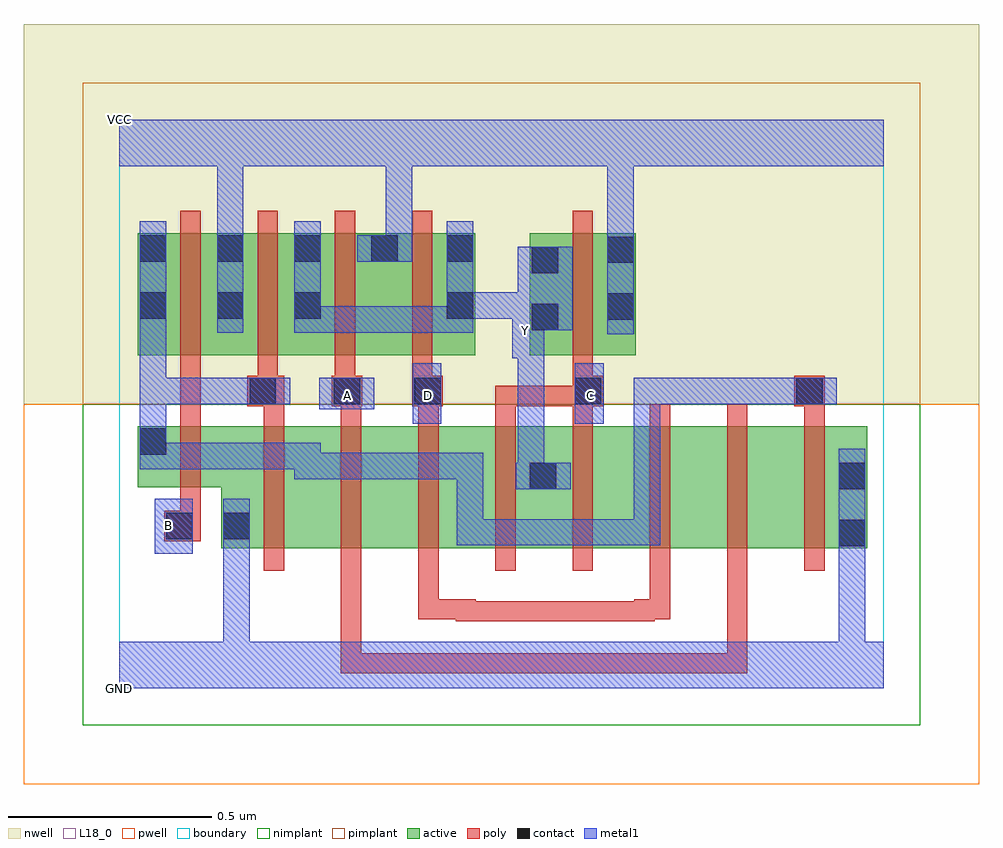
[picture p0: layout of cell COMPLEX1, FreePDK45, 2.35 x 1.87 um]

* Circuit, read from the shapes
.subckt COMPLEX1 A B C D GND VCC Y
M1 GND B n1 VSUBS nfet w=0.15u l=0.05u
M2 n2 n1 GND VSUBS nfet w=0.3u l=0.05u
M3 n3 A n2 VSUBS nfet w=0.3u l=0.05u
M4 n4 D n3 VSUBS nfet w=0.3u l=0.05u
M5 Y C n4 VSUBS nfet w=0.3u l=0.05u
M6 n5 C Y VSUBS nfet w=0.3u l=0.05u
M7 n6 D n5 VSUBS nfet w=0.3u l=0.05u
M8 n7 A n6 VSUBS nfet w=0.3u l=0.05u
M9 GND n1 n7 VSUBS nfet w=0.3u l=0.05u
M10 VCC B n1 n8 pfet w=0.3u l=0.05u
M11 Y n1 VCC n8 pfet w=0.3u l=0.05u
M12 VCC A Y n8 pfet w=0.3u l=0.05u
M13 Y D VCC n8 pfet w=0.3u l=0.05u
M14 VCC C Y n8 pfet w=0.3u l=0.05u
.ends

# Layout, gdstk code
import gdstk
lib = gdstk.Library(unit=1e-6, precision=1e-09)
def R(c, l, rs):  # rectangles x0, y0, x1, y1
    for r in rs: c.add(gdstk.rectangle(r[:2], r[2:], *l))
def A(c, l, x, y, w, h, nx, ny, dx, dy):  # array of equal rectangles
    R(c, l, [(x+i*dx, y+j*dy, x+i*dx+w, y+j*dy+h) for i in range(nx) for j in range(ny)])
active = (1, 0)
pwell = (2, 0)
nwell = (3, 0)
nimplant = (4, 0)
pimplant = (5, 0)
poly = (9, 0)
contact = (10, 0)
metal1 = (11, 0)
L18_0 = (18, 0)
boundary = (235, 0)

complex1 = lib.new_cell('COMPLEX1')
A(complex1, active, 0.045, 0.82, 0.075, 0.3, 3, 1, 0.19, 0)
A(complex1, active, 0.045, 0.82, 0.265, 0.3, 3, 1, 0.19, 0)
R(complex1, active, [(0.25,0.345,0.475,0.645), (0.25,0.345,0.325,0.495), (0.475,0.345,0.665,0.645), (0.665,0.345,0.855,0.645), (0.855,0.345,1.08,0.645), (1.005,0.345,1.08,0.645), (1.005,0.345,1.235,0.645), (1.235,0.345,1.425,0.645), (1.425,0.345,1.615,0.645), (1.615,0.345,1.84,0.645), (1.765,0.345,1.84,0.645), (0.045,0.495,0.12,0.645), (0.045,0.495,0.325,0.645), (0.615,0.82,0.875,1.12), (0.8,0.82,0.875,1.12), (1.01,0.82,1.085,1.12), (1.01,0.82,1.27,1.12), (1.195,0.82,1.27,1.117), (0.615,0.872,0.69,1.12)])
R(complex1, pwell, [(-0.235,-0.235,2.115,0.7)])
R(complex1, nwell, [(-0.235,0.7,2.115,1.635)])
R(complex1, nimplant, [(-0.09,-0.09,1.97,0.7)])
R(complex1, pimplant, [(-0.09,0.7,1.97,1.49)])
A(complex1, poly, 0.355, 0.29, 0.05, 0.41, 8, 1, 0.19, 0)
A(complex1, poly, 0.355, 0.65, 0.05, 0.095, 5, 1, 0.19, 0)
A(complex1, poly, 0.34, 0.72, 0.05, 0.095, 3, 1, 0.19, 0)
A(complex1, poly, 0.15, 0.765, 0.05, 0.41, 4, 1, 0.19, 0)
R(complex1, poly, [(0.545,0.037,0.595,0.34), (0.545,0.037,0.595,0.087), (0.545,0.037,0.595,0.087), (0.545,0.037,0.595,0.087), (0.545,0.037,0.595,0.087), (0.545,0.037,0.595,0.087), (0.545,0.037,0.727,0.087), (0.677,0.037,0.727,0.087), (0.677,0.037,0.917,0.087), (0.867,0.037,0.917,0.087), (0.867,0.037,0.917,0.087), (0.867,0.037,0.917,0.087), (0.867,0.037,1.185,0.087), (1.135,0.037,1.185,0.087), (1.135,0.037,1.185,0.087), (1.135,0.037,1.185,0.087), (1.135,0.037,1.412,0.087), (1.362,0.037,1.412,0.087), (1.362,0.037,1.412,0.087), (1.362,0.037,1.412,0.087), (1.362,0.037,1.545,0.087), (1.495,0.037,1.545,0.34), (1.495,0.037,1.545,0.087), (1.495,0.037,1.545,0.087), (1.495,0.037,1.545,0.087), (1.495,0.037,1.545,0.087), (1.495,0.037,1.545,0.087), (0.827,0.165,0.877,0.22), (0.827,0.165,0.975,0.215), (0.925,0.165,0.975,0.215), (0.925,0.165,1.072,0.215), (1.022,0.165,1.072,0.215), (1.022,0.165,1.107,0.215), (1.057,0.165,1.107,0.215), (1.057,0.165,1.317,0.215), (1.267,0.165,1.317,0.22), (0.735,0.17,0.785,0.22), (0.735,0.17,0.785,0.34), (0.735,0.17,0.877,0.22), (1.267,0.17,1.355,0.22), (1.305,0.17,1.355,0.22), (1.305,0.17,1.355,0.34), (0.11,0.362,0.2,0.437), (0.15,0.387,0.2,0.49), (0.15,0.44,0.2,0.7), (0.15,0.65,0.2,0.745), (1.685,0.65,1.735,0.745), (0.15,0.695,0.2,0.745), (0.15,0.695,0.2,0.815), (0.315,0.695,0.405,0.77), (0.522,0.695,0.597,0.77), (0.72,0.695,0.795,0.77), (0.925,0.695,0.975,0.745), (0.925,0.695,1.165,0.745), (1.115,0.695,1.19,0.77), (1.115,0.695,1.165,0.745), (1.115,0.695,1.165,0.745), (1.66,0.695,1.735,0.77), (1.115,0.72,1.165,0.815), (1.115,0.765,1.165,1.175)])
A(complex1, contact, 0.05, 0.91, 0.065, 0.065, 3, 1, 0.19, 0)
A(complex1, contact, 0.05, 1.05, 0.065, 0.065, 4, 1, 0.19, 0)
R(complex1, contact, [(1.77,0.35,1.835,0.415), (0.115,0.367,0.18,0.432), (0.255,0.367,0.32,0.432), (1.01,0.49,1.075,0.555), (1.77,0.49,1.835,0.555), (0.05,0.575,0.115,0.64), (0.32,0.7,0.385,0.765), (0.527,0.7,0.592,0.765), (0.725,0.7,0.79,0.765), (1.12,0.7,1.185,0.765), (1.665,0.7,1.73,0.765), (1.015,0.882,1.08,0.947), (1.2,0.907,1.265,0.972), (0.805,0.91,0.87,0.975), (1.015,1.022,1.08,1.087), (1.2,1.047,1.265,1.112), (0.805,1.05,0.87,1.115)])
A(complex1, metal1, 0.05, 0.875, 0.065, 0.275, 3, 1, 0.19, 0)
R(complex1, metal1, [(0,0,1.88,0.115), (0.255,0.05,0.32,0.115), (0.255,0.05,0.32,0.115), (0.255,0.05,0.32,0.397), (1.77,0.05,1.835,0.38), (1.77,0.05,1.835,0.115), (1.77,0.05,1.835,0.115), (1.77,0.05,1.835,0.115), (1.77,0.05,1.835,0.115), (1.77,0.315,1.835,0.59), (0.087,0.332,0.18,0.467), (0.255,0.332,0.32,0.397), (0.255,0.332,0.32,0.397), (0.255,0.332,0.32,0.467), (0.83,0.352,0.895,0.417), (0.83,0.352,0.895,0.417), (0.83,0.352,0.897,0.417), (0.83,0.352,0.895,0.58), (0.832,0.352,1.127,0.417), (1.062,0.352,1.127,0.417), (1.062,0.352,1.127,0.417), (1.062,0.352,1.127,0.417), (1.062,0.352,1.33,0.417), (1.265,0.352,1.33,0.417), (1.265,0.352,1.33,0.417), (1.265,0.352,1.33,0.417), (1.265,0.352,1.33,0.765), (0.975,0.49,1.11,0.555), (0.98,0.49,1.045,0.877), (0.43,0.515,0.732,0.58), (0.43,0.515,0.495,0.605), (0.667,0.515,0.732,0.58), (0.667,0.515,0.732,0.58), (0.667,0.515,0.732,0.58), (0.667,0.515,0.895,0.58), (0.83,0.515,0.895,0.58), (0.05,0.54,0.115,0.605), (0.05,0.54,0.115,0.605), (0.05,0.54,0.357,0.605), (0.05,0.54,0.115,0.675), (0.292,0.54,0.357,0.605), (0.292,0.54,0.357,0.605), (0.292,0.54,0.357,0.605), (0.292,0.54,0.495,0.605), (0.43,0.54,0.495,0.605), (0.43,0.54,0.495,0.605), (0.05,0.61,0.115,0.765), (0.722,0.652,0.792,0.8), (1.12,0.652,1.192,0.8), (0.492,0.687,0.627,0.765), (0.05,0.7,0.115,0.765), (0.05,0.7,0.115,0.765), (0.05,0.7,0.115,0.765), (0.05,0.7,0.252,0.765), (0.05,0.7,0.115,0.94), (0.187,0.7,0.252,0.765), (0.187,0.7,0.35,0.765), (0.285,0.7,0.42,0.765), (1.265,0.7,1.33,0.765), (1.265,0.7,1.33,0.765), (1.265,0.7,1.33,0.765), (1.265,0.7,1.467,0.765), (1.402,0.7,1.467,0.765), (1.402,0.7,1.467,0.765), (1.402,0.7,1.467,0.765), (1.402,0.7,1.695,0.765), (1.63,0.7,1.695,0.765), (1.63,0.7,1.695,0.765), (1.63,0.7,1.765,0.765), (0.967,0.812,1.045,0.947), (1.2,0.872,1.265,1.147), (0.43,0.875,0.495,0.94), (0.43,0.875,0.495,0.94), (0.43,0.875,0.632,0.94), (0.567,0.875,0.632,0.94), (0.567,0.875,0.632,0.94), (0.567,0.875,0.632,0.94), (0.567,0.875,0.87,0.94), (0.805,0.875,0.87,1.15), (0.98,0.882,1.045,0.947), (0.98,0.882,1.115,1.087), (0.805,0.91,0.99,0.975), (0.925,0.91,0.99,0.975), (0.925,0.91,1.045,0.975), (0.585,1.05,0.72,1.115), (0.655,1.05,0.72,1.35), (1.2,1.082,1.265,1.35), (0.24,1.085,0.305,1.35), (0,1.285,1.88,1.4), (0.24,1.285,0.305,1.35), (0.24,1.285,0.305,1.35), (0.655,1.285,0.72,1.35), (0.655,1.285,0.72,1.35), (1.2,1.285,1.265,1.35), (1.2,1.285,1.265,1.35)])
R(complex1, L18_0, [(0,0,1.88,0.115), (0.255,0.05,0.32,0.115), (0.255,0.05,0.32,0.115), (0.255,0.05,0.32,0.397), (1.77,0.05,1.835,0.115), (1.77,0.05,1.835,0.115), (1.77,0.05,1.835,0.115), (1.77,0.05,1.835,0.115), (1.77,0.05,1.835,0.38), (1.77,0.315,1.835,0.59), (0.087,0.332,0.18,0.467), (0.255,0.332,0.32,0.397), (0.255,0.332,0.32,0.397), (0.255,0.332,0.32,0.467), (0.087,0.367,0.152,0.432), (0.975,0.49,1.11,0.555), (0.98,0.49,1.045,0.877), (0.722,0.652,0.792,0.8), (1.12,0.652,1.192,0.8), (0.492,0.687,0.627,0.765), (0.527,0.687,0.592,0.752), (0.727,0.687,0.792,0.752), (1.127,0.687,1.192,0.752), (0.967,0.812,1.045,0.947), (0.967,0.847,1.032,0.912), (1.2,0.872,1.265,1.147), (0.24,0.875,0.305,1.15), (0.43,0.875,0.495,0.94), (0.43,0.875,0.495,0.94), (0.43,0.875,0.495,1.15), (0.43,0.875,0.632,0.94), (0.567,0.875,0.632,0.94), (0.567,0.875,0.632,0.94), (0.567,0.875,0.632,0.94), (0.567,0.875,0.87,0.94), (0.805,0.875,0.87,1.15), (0.98,0.882,1.045,0.947), (0.98,0.882,1.115,1.087), (0.805,0.91,0.99,0.975), (0.925,0.91,0.99,0.975), (0.925,0.91,1.045,0.975), (0.585,1.05,0.72,1.115), (0.655,1.05,0.72,1.35), (1.2,1.082,1.265,1.35), (0.24,1.085,0.305,1.35), (0,1.285,1.88,1.4), (0.24,1.285,0.305,1.35), (0.24,1.285,0.305,1.35), (0.655,1.285,0.72,1.35), (0.655,1.285,0.72,1.35), (1.2,1.285,1.265,1.35), (1.2,1.285,1.265,1.35)])
R(complex1, boundary, [(0,0,1.88,1.4)])
complex1.add(gdstk.Label('A', (0.56,0.72), layer=11, texttype=0))
complex1.add(gdstk.Label('B', (0.12,0.4), layer=11, texttype=0))
complex1.add(gdstk.Label('C', (1.16,0.72), layer=11, texttype=0))
complex1.add(gdstk.Label('D', (0.76,0.72), layer=11, texttype=0))
complex1.add(gdstk.Label('Y', (1,0.88), layer=11, texttype=0))
complex1.add(gdstk.Label('VCC', (0,1.4), layer=11, texttype=0))
complex1.add(gdstk.Label('GND', (0,0), layer=11, texttype=0))

lib.write_gds('COMPLEX1.gds')
